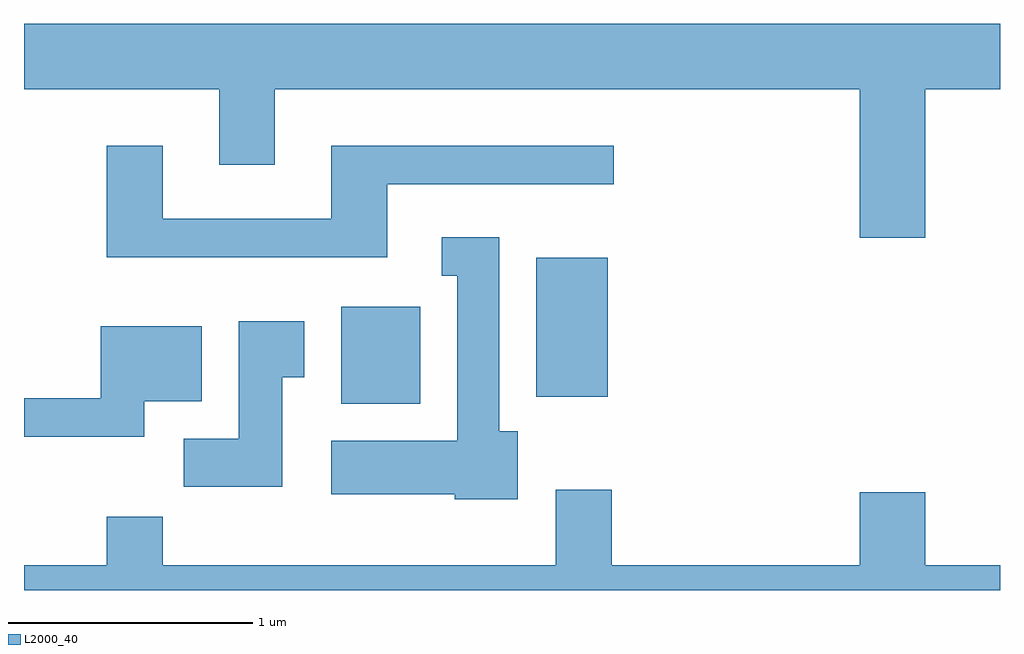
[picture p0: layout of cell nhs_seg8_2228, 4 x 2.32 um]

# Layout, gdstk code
import gdstk
lib = gdstk.Library(unit=1e-6, precision=1e-09)
def R(c, l, rs):  # rectangles x0, y0, x1, y1
    for r in rs: c.add(gdstk.rectangle(r[:2], r[2:], *l))
def P(c, l, *ps):  # polygons
    for p in ps: c.add(gdstk.Polygon(p, *l))
L2000_40 = (2000, 40)

nhs_seg8_2228 = lib.new_cell('nhs_seg8_2228')
R(nhs_seg8_2228, L2000_40, [(252.911,1855.106,253.234,1855.504), (253.711,1855.136,254.004,1855.704)])
P(nhs_seg8_2228, L2000_40, [(255.304,1856.396),(255.611,1856.396),(255.611,1856.664),(251.611,1856.664),(251.611,1856.396),(252.411,1856.396),(252.411,1856.086),(252.639,1856.086),(252.639,1856.396),(255.036,1856.396),(255.036,1855.786),(255.304,1855.786)],
  [(253.099,1856.006),(254.028,1856.006),(254.028,1856.164),(252.871,1856.164),(252.871,1855.864),(252.179,1855.864),(252.179,1856.164),(251.951,1856.164),(251.951,1855.706),(253.099,1855.706)],
  [(253.634,1854.994),(253.559,1854.994),(253.559,1855.789),(253.323,1855.789),(253.323,1855.631),(253.386,1855.631),(253.386,1854.954),(252.871,1854.954),(252.871,1854.736),(253.376,1854.736),(253.376,1854.716),(253.634,1854.716)],
  [(252.669,1855.216),(252.759,1855.216),(252.759,1855.444),(252.491,1855.444),(252.491,1854.964),(252.266,1854.964),(252.266,1854.766),(252.669,1854.766)],
  [(252.104,1855.116),(252.339,1855.116),(252.339,1855.424),(251.926,1855.424),(251.926,1855.129),(251.611,1855.129),(251.611,1854.971),(252.104,1854.971)],
  [(255.611,1854.444),(255.304,1854.444),(255.304,1854.744),(255.036,1854.744),(255.036,1854.444),(254.019,1854.444),(254.019,1854.754),(253.791,1854.754),(253.791,1854.444),(252.179,1854.444),(252.179,1854.644),(251.951,1854.644),(251.951,1854.444),(251.611,1854.444),(251.611,1854.342),(255.611,1854.342)])

lib.write_gds('nhs_seg8_2228.gds')
